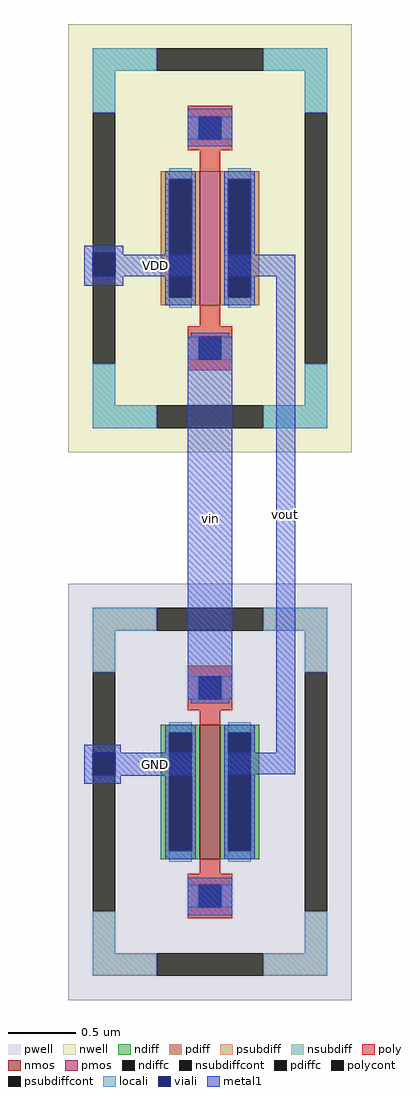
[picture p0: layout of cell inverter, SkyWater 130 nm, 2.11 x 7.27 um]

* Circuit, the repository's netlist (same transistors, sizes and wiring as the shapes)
** sch_path: /foss/designs/ttsky26d_analog_compute/SCH/inverter.sch
.subckt inverter VDD vout vin GND
*.PININFO VDD:B vout:B vin:B GND:B
XM1 vout vin GND GND sky130_fd_pr__nfet_01v8 L=0.15 W=1 nf=1
XM2 vout vin VDD VDD sky130_fd_pr__pfet_01v8 L=0.15 W=1 nf=1
.ends

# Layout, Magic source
magic
tech sky130A
magscale 1 2
<< viali >>
rect 372 160 406 196
rect 372 -584 406 -550
<< metal1 >>
rect 514 354 580 410
rect 360 196 418 206
rect 360 160 372 196
rect 406 192 418 196
rect 406 160 520 192
rect 574 160 674 192
rect 360 146 418 160
rect 514 -470 580 70
rect 360 -550 414 -538
rect 646 -550 674 160
rect 360 -584 372 -550
rect 406 -584 520 -550
rect 574 -582 674 -550
rect 360 -596 414 -584
rect 514 -792 580 -736
use sky130_fd_pr__nfet_01v8_LB55D5  XM1
transform 1 0 547 0 1 -608
box -211 -310 211 310
use sky130_fd_pr__pfet_01v8_YJL4GZ  XM2
transform 1 0 547 0 1 217
box -211 -319 211 319
<< labels >>
flabel metal1 514 -470 580 70 0 FreeSans 320 0 0 0 vin
port 1 nsew
flabel metal1 646 -582 674 192 0 FreeSans 320 0 0 0 vout
port 2 nsew
flabel space 406 160 526 192 0 FreeSans 320 0 0 0 VDD
port 3 nsew
flabel space 406 -584 526 -550 0 FreeSans 320 0 0 0 GND
port 4 nsew
<< end >>

# cell sky130_fd_pr__nfet_01v8_LB55D5: kit device sky130_fd_pr__nfet_01v8, w 1.0 l 0.15 m 1 nf 1 diffcov 100 polycov 100 guard 1 glc 1 grc 1 gtc 1 gbc 1 tbcov 100 rlcov 100 topc 1 botc 1 poverlap 0 doverlap 1 lmin 0.15 wmin 0.42 class mosfet compatible {sky130_fd_pr__nfet_01v8 sky130_fd_pr__nfet_01v8_lvt sky130_fd_bs_flash__special_sonosfet_star sky130_fd_pr__nfet_g5v0d10v5 sky130_fd_pr__nfet_05v0_nvt sky130_fd_pr__nfet_03v3_nvt} full_metal 1 conn_gates 0 viasrc 100 viadrn 100 viagate 100 viagb 0 viagr 0 viagl 0 viagt 0 doports 1 ad 0.29 as 0.29 pd 2.58 ps 2.58 nrd 0.29 nrs 0.29 sa 0 sb 0 sd 0 mult 1

# cell sky130_fd_pr__pfet_01v8_YJL4GZ: kit device sky130_fd_pr__pfet_01v8, w 1.0 l 0.15 m 1 nf 1 diffcov 100 polycov 100 guard 1 glc 1 grc 1 gtc 1 gbc 1 tbcov 100 rlcov 100 topc 1 botc 1 poverlap 0 doverlap 1 lmin 0.15 wmin 0.42 class mosfet compatible {sky130_fd_pr__pfet_01v8 sky130_fd_pr__pfet_01v8_lvt sky130_fd_pr__pfet_01v8_hvt sky130_fd_pr__pfet_g5v0d10v5} full_metal 1 conn_gates 0 viasrc 100 viadrn 100 viagate 100 viagb 0 viagr 0 viagl 0 viagt 0 doports 1 ad 0.29 as 0.29 pd 2.58 ps 2.58 nrd 0.29 nrs 0.29 sa 0 sb 0 sd 0 mult 1
